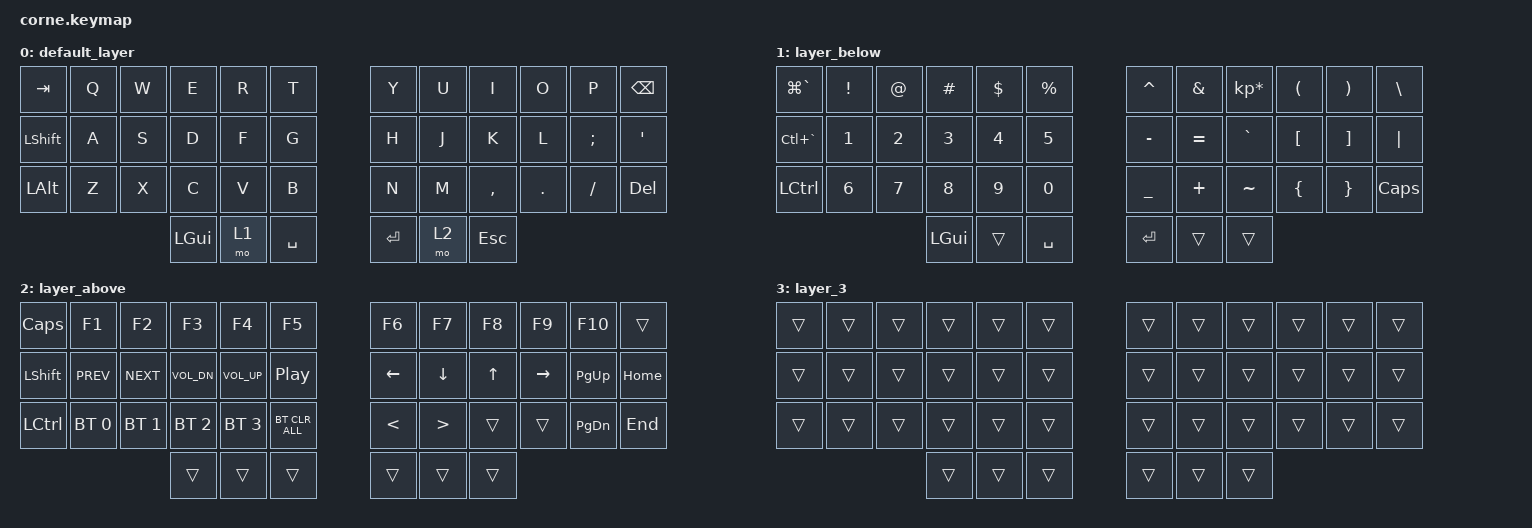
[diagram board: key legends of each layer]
/*
 * Copyright (c) 2020 The ZMK Contributors
 *
 * SPDX-License-Identifier: MIT
 */

#include <behaviors.dtsi>
#include <dt-bindings/zmk/bt.h>
#include <dt-bindings/zmk/keys.h>

/ {
    behaviors {
        tp: tap_preferred {
            compatible = "zmk,behavior-hold-tap";
            label = "TAP_PREFERRED";
            #binding-cells = <2>;
            tapping-term-ms = <150>;
            quick-tap-ms = <0>;
            flavor = "tap-preferred";
            bindings = <&kp>, <&kp>;
        };
    };

    combos {
        compatible = "zmk,combos";

        Exit_terminal {
            bindings = <&kp LC(C)>;
            key-positions = <37 24 27>;
        };

        Til {
            bindings = <&kp TILDE>;
            key-positions = <37 12 20>;
        };

        RecordScreen {
            bindings = <&kp LS(LG(KP_NUMBER_5))>;
            key-positions = <37 12 17>;
        };
    };

    keymap {
        compatible = "zmk,keymap";

        default_layer {
            // -----------------------------------------------------------------------------------------
            // | TAB  |  Q  |  W  |  E  |  R  |    T    |   |  Y  |  U   |  I  |  O  |  P  | ESC |
            // | CTRL |  A  |  S  |  D  |  F  |    G    |   |  H  |  J   |  K  |  L  |  ;  |  LWR/'   |
            // | SHFT |  Z  |  X  |  C  |  V  |    B    |   |  N  |  M   |  ,  |  .  |  /  | SHFT |
            //                    | GUI | LWR | ALT/ENT |   | HYPER/SPC | BKSP  | RSE |

            bindings = <
&kp TAB         &kp Q  &kp W  &kp E     &kp R  &kp T        &kp Y      &kp U  &kp I      &kp O    &kp P     &kp BACKSPACE
&kp LEFT_SHIFT  &kp A  &kp S  &kp D     &kp F  &kp G        &kp H      &kp J  &kp K      &kp L    &kp SEMI  &kp SINGLE_QUOTE
&kp LEFT_ALT    &kp Z  &kp X  &kp C     &kp V  &kp B        &kp N      &kp M  &kp COMMA  &kp DOT  &kp FSLH  &kp DEL
                              &kp LGUI  &mo 1  &kp SPACE    &kp ENTER  &mo 2  &kp ESC
            >;
        };

        layer_below {
            // -----------------------------------------------------------------------------------------
            // |      |  !  |  @  |  #  |  $  |    %     |   |  ^  |  &  |  *  |  (  |  )  |   \   |
            // |      |  1  |  2  |  3  |  4  |    5     |   |  -  |  =  |  `  |  [  |  ]  |  "|"  |
            // | SHFT |  6  |  7  |  8  |  9  |    0     |   |  _  |  +  |  ~  |  {  |  }  | RSHFT |
            //                     | GUI |     | ALT/ENT |   | HYPER/SPACE | BKSP |    |

            bindings = <
&kp LG(GRAVE)     &kp EXCL  &kp AT  &kp HASH  &kp DLLR  &kp PRCNT    &kp CARET  &kp AMPS   &kp KP_MULTIPLY  &kp LPAR  &kp RPAR  &kp BSLH
&kp LC(GRAVE)     &kp N1    &kp N2  &kp N3    &kp N4    &kp N5       &kp MINUS  &kp EQUAL  &kp GRAVE        &kp LBKT  &kp RBKT  &kp PIPE
&kp LEFT_CONTROL  &kp N6    &kp N7  &kp N8    &kp N9    &kp N0       &kp UNDER  &kp PLUS   &kp TILDE        &kp LBRC  &kp RBRC  &kp CAPSLOCK
                                    &kp LGUI  &trans    &kp SPACE    &kp ENTER  &trans     &trans
            >;
        };

        layer_above {
            // -----------------------------------------------------------------------------------------
            // |       |  F1  |  F2  |  F3  |  F4  |  F5 |            |  F6  |  F7  |  F8  |  F9  |  F10  |   |
            // |       | Prev | Next | Vol - | Vol + | Play/Pause |   |      | LFT | DWN |  UP | RGT |     |     |
            // | BTCLR | BT1 | BT2 | BT3 | BT4 | BT5 |   |            |     |     |     |     |     |     |
            //                    |     |     |    |                  |     |     |     |

            bindings = <
&kp CAPSLOCK      &kp F1        &kp F2        &kp F3        &kp F4        &kp F5            &kp F6         &kp F7            &kp F8  &kp F9     &kp F10        &trans
&kp LEFT_SHIFT    &kp C_PREV    &kp C_NEXT    &kp C_VOL_DN  &kp C_VOL_UP  &kp C_PP          &kp LEFT       &kp DOWN          &kp UP  &kp RIGHT  &kp PAGE_UP    &kp HOME
&kp LEFT_CONTROL  &bt BT_SEL 0  &bt BT_SEL 1  &bt BT_SEL 2  &bt BT_SEL 3  &bt BT_CLR_ALL    &kp LESS_THAN  &kp GREATER_THAN  &trans  &trans     &kp PAGE_DOWN  &kp END
                                              &trans        &trans        &trans            &trans         &trans            &trans
            >;
        };

        layer_3 {
            bindings = <
&trans  &trans  &trans  &trans  &trans  &trans    &trans  &trans  &trans  &trans  &trans  &trans
&trans  &trans  &trans  &trans  &trans  &trans    &trans  &trans  &trans  &trans  &trans  &trans
&trans  &trans  &trans  &trans  &trans  &trans    &trans  &trans  &trans  &trans  &trans  &trans
                        &trans  &trans  &trans    &trans  &trans  &trans
            >;
        };
    };
};
